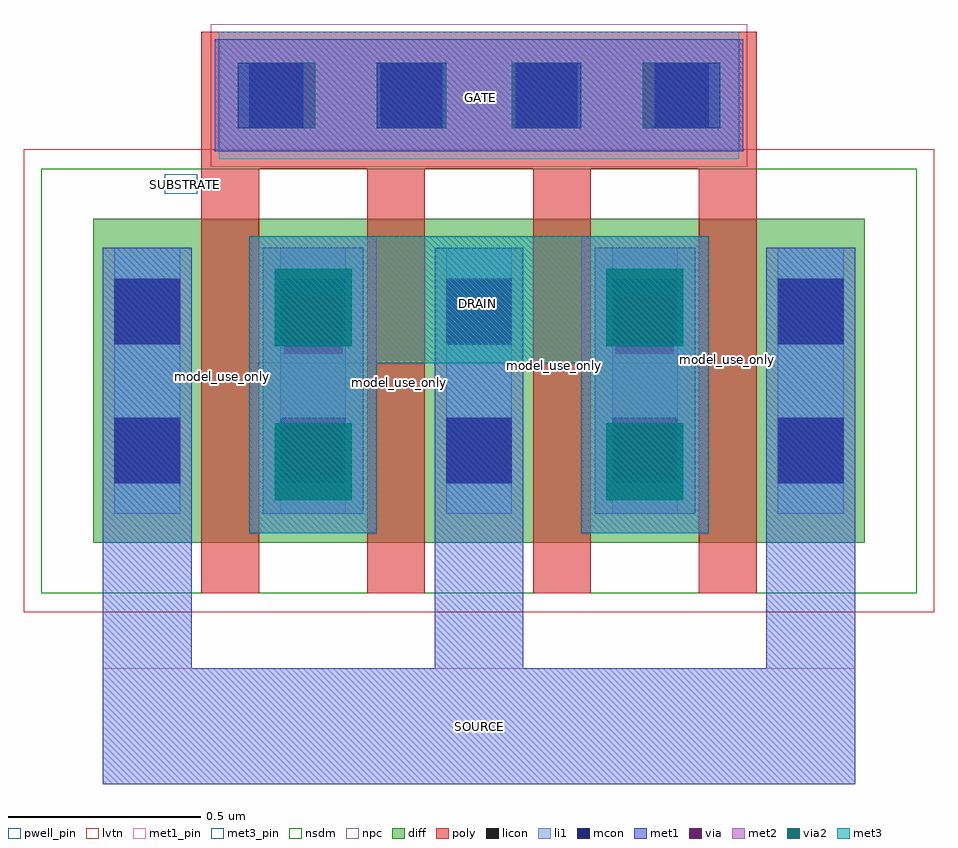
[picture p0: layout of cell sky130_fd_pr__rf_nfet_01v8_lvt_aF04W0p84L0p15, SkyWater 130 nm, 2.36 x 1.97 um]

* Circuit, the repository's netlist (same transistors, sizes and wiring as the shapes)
* Copyright 2020 The SkyWater PDK Authors
*
* Licensed under the Apache License, Version 2.0 (the "License");
* you may not use this file except in compliance with the License.
* You may obtain a copy of the License at
*
*     https://www.apache.org/licenses/LICENSE-2.0
*
* Unless required by applicable law or agreed to in writing, software
* distributed under the License is distributed on an "AS IS" BASIS,
* WITHOUT WARRANTIES OR CONDITIONS OF ANY KIND, either express or implied.
* See the License for the specific language governing permissions and
* limitations under the License.
*
* SPDX-License-Identifier: Apache-2.0


.subckt sky130_fd_pr__rf_nfet_01v8_lvt_aF04W0p84L0p15 DRAIN GATE SOURCE SUBSTRATE
X0 SOURCE GATE DRAIN SUBSTRATE sky130_fd_pr__nfet_01v8_lvt w=840000u l=150000u
X1 DRAIN GATE SOURCE SUBSTRATE sky130_fd_pr__nfet_01v8_lvt w=840000u l=150000u
X2 DRAIN GATE SOURCE SUBSTRATE sky130_fd_pr__nfet_01v8_lvt w=840000u l=150000u
X3 SOURCE GATE DRAIN SUBSTRATE sky130_fd_pr__nfet_01v8_lvt w=840000u l=150000u
.ends

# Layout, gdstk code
import gdstk
lib = gdstk.Library(unit=1e-6, precision=1e-09)
def R(c, l, rs):  # rectangles x0, y0, x1, y1
    for r in rs: c.add(gdstk.rectangle(r[:2], r[2:], *l))
def A(c, l, x, y, w, h, nx, ny, dx, dy):  # array of equal rectangles
    R(c, l, [(x+i*dx, y+j*dy, x+i*dx+w, y+j*dy+h) for i in range(nx) for j in range(ny)])
diff = (65, 20)
poly = (66, 20)
licon = (66, 44)
li1 = (67, 20)
mcon = (67, 44)
met1_pin = (68, 16)
met1 = (68, 20)
via = (68, 44)
met2 = (69, 20)
via2 = (69, 44)
met3_pin = (70, 16)
met3 = (70, 20)
nsdm = (93, 44)
npc = (95, 20)
pwell_pin = (122, 16)
lvtn = (125, 44)

sky130_fd_pr__rf_nfet_01 = lib.new_cell('sky130_fd_pr__rf_nfet_01v8_lvt_aF04W0p84L0p15')
A(sky130_fd_pr__rf_nfet_01, diff, 0.18, 0.18, 0.28, 0.84, 3, 1, 0.43, 0)
A(sky130_fd_pr__rf_nfet_01, diff, 0.21, 0.18, 0.25, 0.84, 3, 1, 0.86, 0)
A(sky130_fd_pr__rf_nfet_01, diff, 0.46, 0.18, 0.15, 0.84, 4, 1, 0.43, 0)
A(sky130_fd_pr__rf_nfet_01, diff, 1.04, 0.18, 0.28, 0.84, 3, 1, 0.43, 0)
R(sky130_fd_pr__rf_nfet_01, diff, [(1.9,0.18,2.18,1.02)])
A(sky130_fd_pr__rf_nfet_01, poly, 0.46, 0.05, 0.15, 0.13, 4, 2, 0.43, 0.97)
A(sky130_fd_pr__rf_nfet_01, poly, 0.46, 0.05, 0.15, 1.1, 4, 1, 0.43, 0)
R(sky130_fd_pr__rf_nfet_01, poly, [(0.46,1.15,1.9,1.505), (0.505,1.175,1.855,1.505)])
A(sky130_fd_pr__rf_nfet_01, licon, 0.235, 0.335, 0.17, 0.17, 5, 2, 0.43, 0.36)
A(sky130_fd_pr__rf_nfet_01, licon, 0.585, 1.255, 0.17, 0.17, 4, 1, 0.34, 0)
A(sky130_fd_pr__rf_nfet_01, li1, 0.235, 0.255, 0.17, 0.69, 5, 1, 0.43, 0)
R(sky130_fd_pr__rf_nfet_01, li1, [(0.505,1.175,1.855,1.505), (0.555,1.255,1.805,1.425)])
A(sky130_fd_pr__rf_nfet_01, mcon, 0.235, 0.335, 0.17, 0.17, 5, 2, 0.43, 0.36)
A(sky130_fd_pr__rf_nfet_01, mcon, 0.555, 1.255, 0.17, 0.17, 4, 1, 0.36, 0)
R(sky130_fd_pr__rf_nfet_01, met1_pin, [(0.205,-0.445,2.155,-0.145), (0.495,1.195,1.865,1.485)])
R(sky130_fd_pr__rf_nfet_01, met1, [(0.62,0.275,0.88,0.925), (1.48,0.275,1.74,0.925), (0.495,1.195,1.865,1.485)])
R(sky130_fd_pr__rf_nfet_01, via, [(0.675,0.35,0.825,0.5), (1.535,0.35,1.685,0.5), (0.675,0.67,0.825,0.82), (1.535,0.67,1.685,0.82)])
R(sky130_fd_pr__rf_nfet_01, met2, [(0.585,0.205,0.915,0.975), (1.445,0.205,1.775,0.975), (0.62,0.27,0.88,0.91), (1.48,0.27,1.74,0.91)])
R(sky130_fd_pr__rf_nfet_01, via2, [(0.65,0.29,0.85,0.49), (1.51,0.29,1.71,0.49), (0.65,0.69,0.85,0.89), (1.51,0.69,1.71,0.89)])
R(sky130_fd_pr__rf_nfet_01, met3_pin, [(0.585,0.645,1.775,0.975)])
R(sky130_fd_pr__rf_nfet_01, met3, [(0.585,0.205,0.915,0.975), (1.445,0.205,1.775,0.975)])
A(sky130_fd_pr__rf_nfet_01, nsdm, 0.21, 0.05, 0.4, 1.1, 4, 1, 0.43, 0)
A(sky130_fd_pr__rf_nfet_01, nsdm, 0.48, 0.05, 0.54, 1.1, 3, 1, 0.43, 0)
R(sky130_fd_pr__rf_nfet_01, nsdm, [(0.045,0.05,0.59,1.15), (1.77,0.05,2.315,1.15)])
R(sky130_fd_pr__rf_nfet_01, npc, [(0.485,1.155,1.875,1.525)])
R(sky130_fd_pr__rf_nfet_01, pwell_pin, [(0.365,1.085,0.45,1.135)])
R(sky130_fd_pr__rf_nfet_01, lvtn, [(0,0,2.36,1.2)])
sky130_fd_pr__rf_nfet_01.add(gdstk.FlexPath([(0.585,0.81),(1.775,0.81)], 0.33, ends="flush", simple_path=True, layer=70, datatype=20))  # met3
sky130_fd_pr__rf_nfet_01.add(gdstk.FlexPath([(2.04,0.945),(2.04,-0.445)], 0.23, ends="flush", simple_path=True, layer=68, datatype=20))  # met1
sky130_fd_pr__rf_nfet_01.add(gdstk.FlexPath([(1.18,0.945),(1.18,-0.445)], 0.23, ends="flush", simple_path=True, layer=68, datatype=20))  # met1
sky130_fd_pr__rf_nfet_01.add(gdstk.FlexPath([(0.32,0.945),(0.32,-0.445)], 0.23, ends="flush", simple_path=True, layer=68, datatype=20))  # met1
sky130_fd_pr__rf_nfet_01.add(gdstk.FlexPath([(0.205,-0.295),(2.155,-0.295)], 0.3, ends="flush", simple_path=True, layer=68, datatype=20))  # met1
sky130_fd_pr__rf_nfet_01.add(gdstk.FlexPath([(0.75,0.945),(0.75,0.255)], 0.26, ends="flush", simple_path=True, layer=68, datatype=20))  # met1
sky130_fd_pr__rf_nfet_01.add(gdstk.FlexPath([(1.61,0.945),(1.61,0.255)], 0.26, ends="flush", simple_path=True, layer=68, datatype=20))  # met1
sky130_fd_pr__rf_nfet_01.add(gdstk.Label('model_use_only', (0.515,0.61), layer=66, texttype=83))
sky130_fd_pr__rf_nfet_01.add(gdstk.Label('model_use_only', (0.975,0.595), layer=66, texttype=83))
sky130_fd_pr__rf_nfet_01.add(gdstk.Label('model_use_only', (1.375,0.64), layer=66, texttype=83))
sky130_fd_pr__rf_nfet_01.add(gdstk.Label('model_use_only', (1.825,0.655), layer=66, texttype=83))
sky130_fd_pr__rf_nfet_01.add(gdstk.Label('DRAIN', (1.175,0.8), layer=70, texttype=16))
sky130_fd_pr__rf_nfet_01.add(gdstk.Label('SOURCE', (1.18,-0.295), layer=68, texttype=16))
sky130_fd_pr__rf_nfet_01.add(gdstk.Label('GATE', (1.185,1.335), layer=68, texttype=16))
sky130_fd_pr__rf_nfet_01.add(gdstk.Label('SUBSTRATE', (0.42,1.11), layer=64, texttype=59))

lib.write_gds('sky130_fd_pr__rf_nfet_01v8_lvt_aF04W0p84L0p15.gds')
